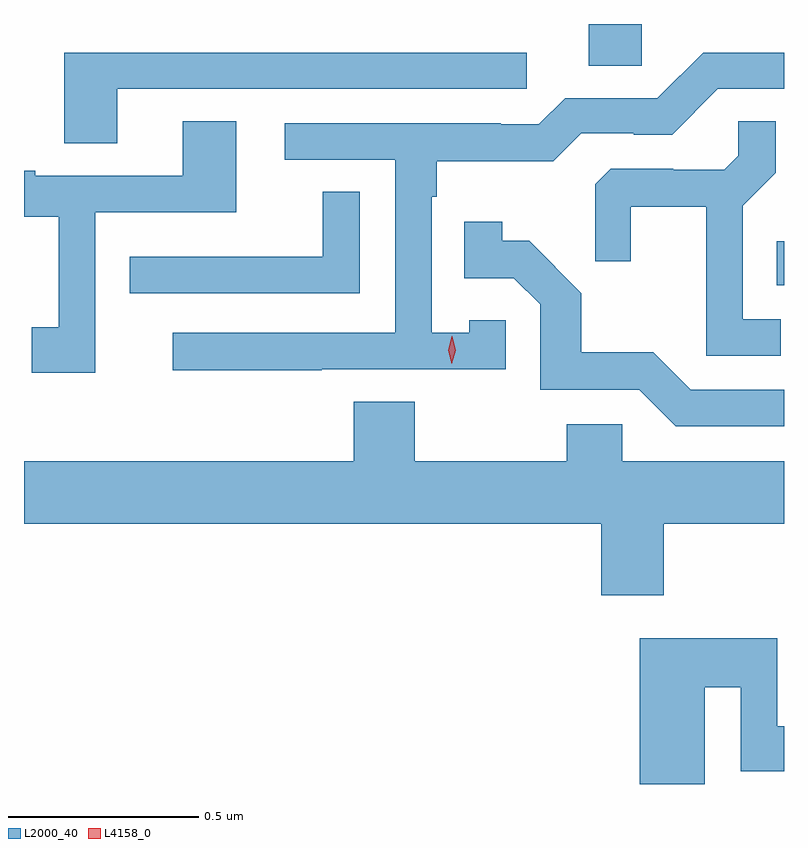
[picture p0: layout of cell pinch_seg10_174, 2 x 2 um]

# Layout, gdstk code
import gdstk
lib = gdstk.Library(unit=1e-6, precision=1e-09)
def R(c, l, rs):  # rectangles x0, y0, x1, y1
    for r in rs: c.add(gdstk.rectangle(r[:2], r[2:], *l))
def P(c, l, *ps):  # polygons
    for p in ps: c.add(gdstk.Polygon(p, *l))
L2000_40 = (2000, 40)
L4158_0 = (4158, 0)

pinch_seg10_174 = lib.new_cell('pinch_seg10_174')
R(pinch_seg10_174, L2000_40, [(692.942,1270.307,692.961,1270.423), (692.447,1270.885,692.586,1270.995)])
P(pinch_seg10_174, L2000_40, [(691.207,1270.824),(692.284,1270.824),(692.284,1270.92),(691.067,1270.92),(691.067,1270.681),(691.207,1270.681)],
  [(691.745,1270.086),(692.229,1270.086),(692.229,1270.215),(692.133,1270.215),(692.133,1270.183),(692.034,1270.183),(692.034,1270.541),(692.047,1270.541),(692.047,1270.634),(692.354,1270.634),(692.427,1270.707),(692.566,1270.707),(692.566,1270.704),(692.667,1270.704),(692.787,1270.824),(692.961,1270.824),(692.961,1270.92),(692.748,1270.92),(692.628,1270.8),(692.385,1270.8),(692.316,1270.731),(692.216,1270.731),(692.216,1270.734),(691.647,1270.734),(691.647,1270.638),(691.938,1270.638),(691.938,1270.182),(691.353,1270.182),(691.353,1270.084),(691.745,1270.084)],
  [(692.953,1270.218),(692.853,1270.218),(692.853,1270.517),(692.939,1270.603),(692.939,1270.739),(692.841,1270.739),(692.841,1270.648),(692.804,1270.611),(692.67,1270.611),(692.67,1270.614),(692.505,1270.614),(692.464,1270.573),(692.464,1270.371),(692.558,1270.371),(692.558,1270.514),(692.756,1270.514),(692.756,1270.122),(692.953,1270.122)],
  [(691.149,1270.5),(691.519,1270.5),(691.519,1270.739),(691.379,1270.739),(691.379,1270.596),(690.991,1270.596),(690.991,1270.609),(690.961,1270.609),(690.961,1270.488),(691.052,1270.488),(691.052,1270.197),(690.981,1270.197),(690.981,1270.077),(691.149,1270.077)],
  [(691.845,1270.553),(691.747,1270.553),(691.747,1270.383),(691.351,1270.383),(691.351,1270.382),(691.239,1270.382),(691.239,1270.287),(691.845,1270.287)],
  [(692.961,1270.032),(692.715,1270.032),(692.617,1270.131),(692.428,1270.131),(692.428,1270.286),(692.29,1270.424),(692.22,1270.424),(692.22,1270.474),(692.119,1270.474),(692.119,1270.326),(692.25,1270.326),(692.319,1270.257),(692.319,1270.032),(692.58,1270.032),(692.676,1269.936),(692.961,1269.936)],
  [(692.644,1269.68),(692.961,1269.68),(692.961,1269.844),(692.535,1269.844),(692.535,1269.942),(692.389,1269.942),(692.389,1269.844),(691.989,1269.844),(691.989,1270.001),(691.829,1270.001),(691.829,1269.844),(690.961,1269.844),(690.961,1269.68),(692.48,1269.68),(692.48,1269.492),(692.644,1269.492)],
  [(692.752,1269.25),(692.847,1269.25),(692.847,1269.028),(692.961,1269.028),(692.961,1269.147),(692.943,1269.147),(692.943,1269.379),(692.582,1269.379),(692.582,1268.995),(692.752,1268.995)])
P(pinch_seg10_174, L4158_0, [(692.087,1270.101),(692.087,1270.101),(692.077,1270.137),(692.087,1270.173),(692.088,1270.173),(692.088,1270.173),(692.097,1270.137),(692.087,1270.101)])

lib.write_gds('pinch_seg10_174.gds')
